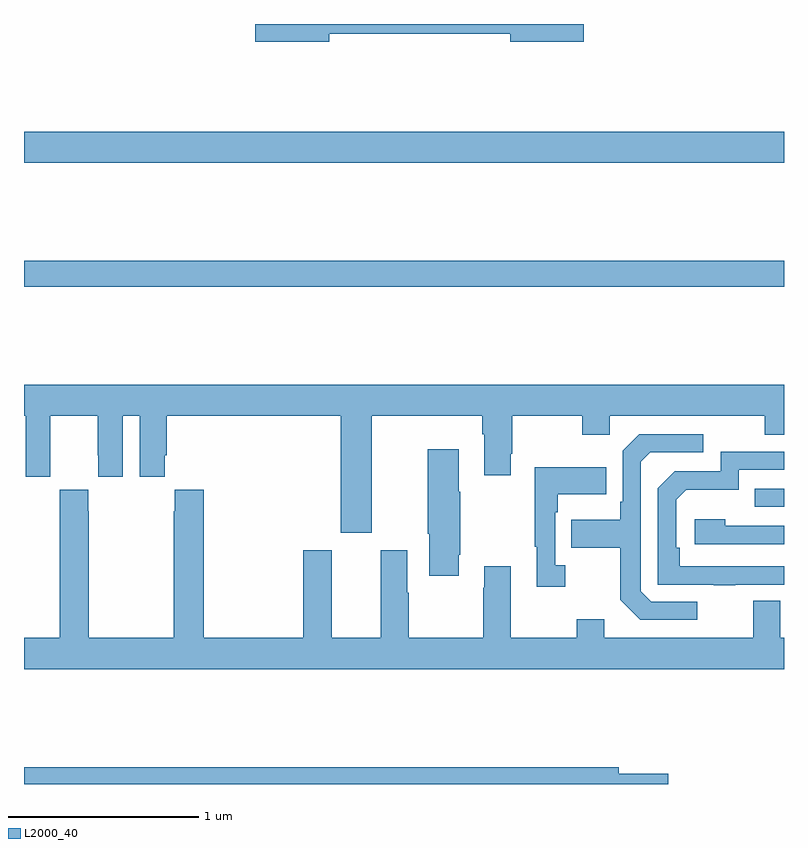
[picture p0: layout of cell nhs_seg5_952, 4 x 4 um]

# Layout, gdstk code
import gdstk
lib = gdstk.Library(unit=1e-6, precision=1e-09)
def R(c, l, rs):  # rectangles x0, y0, x1, y1
    for r in rs: c.add(gdstk.rectangle(r[:2], r[2:], *l))
def P(c, l, *ps):  # polygons
    for p in ps: c.add(gdstk.Polygon(p, *l))
L2000_40 = (2000, 40)

nhs_seg5_952 = lib.new_cell('nhs_seg5_952')
R(nhs_seg5_952, L2000_40, [(174.847,880.257,175,880.353), (171,881.416,175,881.552), (171,882.068,175,882.232)])
P(nhs_seg5_952, L2000_40, [(172.606,882.748),(173.558,882.748),(173.558,882.706),(173.947,882.706),(173.947,882.799),(172.218,882.799),(172.218,882.706),(172.606,882.706)],
  [(172.831,880.736),(173.411,880.736),(173.411,880.64),(173.423,880.64),(173.423,880.425),(173.563,880.425),(173.563,880.537),(173.571,880.537),(173.571,880.736),(173.938,880.736),(173.938,880.637),(174.084,880.637),(174.084,880.736),(174.898,880.736),(174.898,880.637),(175,880.637),(175,880.9),(171,880.9),(171,880.736),(171.008,880.736),(171.008,880.416),(171.138,880.416),(171.138,880.528),(171.139,880.528),(171.139,880.736),(171.389,880.736),(171.389,880.528),(171.39,880.528),(171.39,880.416),(171.52,880.416),(171.52,880.736),(171.608,880.736),(171.608,880.416),(171.742,880.416),(171.742,880.528),(171.752,880.528),(171.752,880.736),(172.667,880.736),(172.667,880.122),(172.831,880.122)],
  [(174.544,879.759),(174.3,879.759),(174.246,879.813),(174.246,880.494),(174.297,880.545),(174.574,880.545),(174.574,880.641),(174.237,880.641),(174.15,880.554),(174.15,880.285),(174.138,880.285),(174.138,880.189),(173.881,880.189),(173.881,880.042),(174.138,880.042),(174.138,879.769),(174.243,879.663),(174.544,879.663)],
  [(173.287,880.006),(173.295,880.006),(173.295,880.337),(173.287,880.337),(173.287,880.561),(173.125,880.561),(173.125,880.117),(173.132,880.117),(173.132,879.894),(173.287,879.894)],
  [(174.743,879.849),(175,879.849),(175,879.945),(174.452,879.945),(174.452,880.042),(174.432,880.042),(174.432,880.296),(174.485,880.349),(174.762,880.349),(174.762,880.452),(175,880.452),(175,880.548),(174.666,880.548),(174.666,880.446),(174.426,880.446),(174.336,880.356),(174.336,879.849),(174.631,879.849),(174.631,879.844),(174.743,879.844)],
  [(173.848,879.95),(173.796,879.95),(173.796,880.229),(173.809,880.229),(173.809,880.325),(174.065,880.325),(174.065,880.465),(173.688,880.465),(173.688,880.049),(173.699,880.049),(173.699,879.837),(173.848,879.837)],
  [(175,879.568),(174.979,879.568),(174.979,879.763),(174.839,879.763),(174.839,879.568),(174.055,879.568),(174.055,879.667),(173.908,879.667),(173.908,879.568),(173.563,879.568),(173.563,879.946),(173.423,879.946),(173.423,879.833),(173.416,879.833),(173.416,879.568),(173.025,879.568),(173.025,879.806),(173.017,879.806),(173.017,880.03),(172.877,880.03),(172.877,879.568),(172.621,879.568),(172.621,880.03),(172.469,880.03),(172.469,879.568),(171.947,879.568),(171.947,880.348),(171.793,880.348),(171.793,880.235),(171.787,880.235),(171.787,879.568),(171.342,879.568),(171.342,880.235),(171.339,880.235),(171.339,880.348),(171.189,880.348),(171.189,880.235),(171.187,880.235),(171.187,879.568),(171,879.568),(171,879.404),(175,879.404)],
  [(175,880.158),(174.692,880.158),(174.692,880.192),(174.531,880.192),(174.531,880.062),(175,880.062)],
  [(174.391,878.852),(174.13,878.852),(174.13,878.888),(171,878.888),(171,878.799),(174.391,878.799)])

lib.write_gds('nhs_seg5_952.gds')
